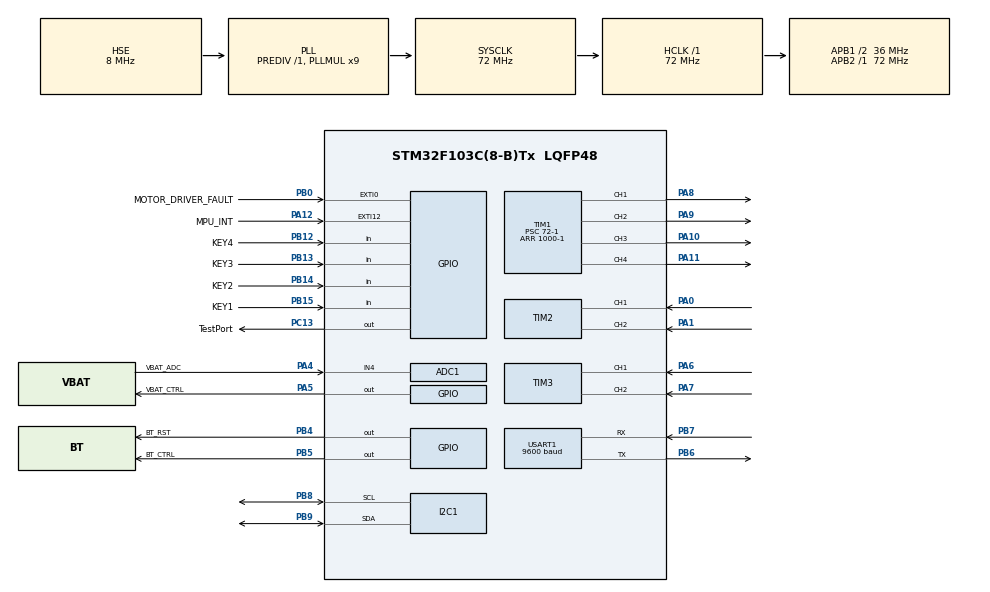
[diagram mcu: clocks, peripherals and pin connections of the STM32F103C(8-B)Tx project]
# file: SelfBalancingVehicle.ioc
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ADC1.Channel-0\#ChannelRegularConversion=ADC_CHANNEL_4
ADC1.ContinuousConvMode=ENABLE
ADC1.NbrOfConversion=1
ADC1.NbrOfConversionFlag=1
ADC1.Rank-0\#ChannelRegularConversion=1
ADC1.SamplingTime-0\#ChannelRegularConversion=ADC_SAMPLETIME_239CYCLES_5
ADC1.master=1
Dma.ADC1.2.Direction=DMA_PERIPH_TO_MEMORY
Dma.ADC1.2.Instance=DMA1_Channel1
Dma.ADC1.2.MemDataAlignment=DMA_MDATAALIGN_HALFWORD
Dma.ADC1.2.MemInc=DMA_MINC_ENABLE
Dma.ADC1.2.Mode=DMA_NORMAL
Dma.ADC1.2.PeriphDataAlignment=DMA_PDATAALIGN_HALFWORD
Dma.ADC1.2.PeriphInc=DMA_PINC_DISABLE
Dma.ADC1.2.Priority=DMA_PRIORITY_LOW
Dma.Request0=USART1_RX
Dma.Request1=USART1_TX
Dma.Request2=ADC1
Dma.USART1_RX.0.Direction=DMA_PERIPH_TO_MEMORY
Dma.USART1_RX.0.Instance=DMA1_Channel5
Dma.USART1_RX.0.MemDataAlignment=DMA_MDATAALIGN_BYTE
Dma.USART1_RX.0.MemInc=DMA_MINC_ENABLE
Dma.USART1_RX.0.Mode=DMA_CIRCULAR
Dma.USART1_RX.0.PeriphDataAlignment=DMA_PDATAALIGN_BYTE
Dma.USART1_RX.0.PeriphInc=DMA_PINC_DISABLE
Dma.USART1_RX.0.Priority=DMA_PRIORITY_LOW
Dma.USART1_TX.1.Direction=DMA_MEMORY_TO_PERIPH
Dma.USART1_TX.1.Instance=DMA1_Channel4
Dma.USART1_TX.1.MemDataAlignment=DMA_MDATAALIGN_BYTE
Dma.USART1_TX.1.MemInc=DMA_MINC_ENABLE
Dma.USART1_TX.1.Mode=DMA_NORMAL
Dma.USART1_TX.1.PeriphDataAlignment=DMA_PDATAALIGN_BYTE
Dma.USART1_TX.1.PeriphInc=DMA_PINC_DISABLE
Dma.USART1_TX.1.Priority=DMA_PRIORITY_LOW
I2C1.I2C_Mode=I2C_Fast
Mcu.Family=STM32F1
Mcu.Name=STM32F103C(8-B)Tx
Mcu.Package=LQFP48
NVIC.DMA1_Channel1_IRQn=true\:0\:0\:false\:false\:true\:false\:true\:true
NVIC.DMA1_Channel4_IRQn=true\:0\:0\:false\:false\:true\:false\:true\:true
NVIC.DMA1_Channel5_IRQn=true\:0\:0\:false\:false\:true\:false\:true\:true
NVIC.I2C1_ER_IRQn=true\:0\:0\:false\:false\:true\:true\:true\:true
NVIC.PriorityGroup=NVIC_PRIORITYGROUP_4
NVIC.TIM4_IRQn=true\:0\:0\:false\:false\:true\:true\:true\:true
NVIC.USART1_IRQn=true\:0\:0\:false\:false\:true\:true\:true\:true
PA0-WKUP.GPIO_PuPd=GPIO_PULLUP
PA0-WKUP.Signal=S_TIM2_CH1_ETR
PA1.GPIO_PuPd=GPIO_PULLUP
PA1.Signal=S_TIM2_CH2
PA10.Signal=S_TIM1_CH3
PA11.Signal=S_TIM1_CH4
PA12.GPIO_Label=MPU_INT
PA12.GPIO_ModeDefaultEXTI=GPIO_MODE_IT_FALLING
PA12.Signal=GPXTI12
PA13.Mode=Serial_Wire
PA13.Signal=SYS_JTMS-SWDIO
PA14.Mode=Serial_Wire
PA14.Signal=SYS_JTCK-SWCLK
PA4.GPIO_Label=VBAT_ADC
PA4.Signal=ADCx_IN4
PA5.GPIO_Label=VBAT_CTRL
PA5.GPIO_Speed=GPIO_SPEED_FREQ_MEDIUM
PA5.Signal=GPIO_Output
PA6.GPIO_PuPd=GPIO_PULLUP
PA6.Signal=S_TIM3_CH1
PA7.GPIO_PuPd=GPIO_PULLUP
PA7.Signal=S_TIM3_CH2
PA8.Signal=S_TIM1_CH1
PA9.Signal=S_TIM1_CH2
PB0.GPIO_Label=MOTOR_DRIVER_FAULT
PB0.GPIO_ModeDefaultEXTI=GPIO_MODE_IT_FALLING
PB0.Signal=GPXTI0
PB10.GPIO_Pu=GPIO_PULLUP
PB10.Signal=I2C2_SCL
PB11.GPIO_Pu=GPIO_PULLUP
PB11.Signal=I2C2_SDA
PB12.GPIO_Label=KEY4
PB12.Signal=GPIO_Input
PB13.GPIO_Label=KEY3
PB13.Signal=GPIO_Input
PB14.GPIO_Label=KEY2
PB14.Signal=GPIO_Input
PB15.GPIO_Label=KEY1
PB15.Signal=GPIO_Input
PB4.GPIO_Label=BT_RST
PB4.PinState=GPIO_PIN_SET
PB4.Signal=GPIO_Output
PB5.GPIO_Label=BT_CTRL
PB5.PinState=GPIO_PIN_SET
PB5.Signal=GPIO_Output
PB6.Mode=Asynchronous
PB6.Signal=USART1_TX
PB7.Mode=Asynchronous
PB7.Signal=USART1_RX
PB8.Mode=I2C
PB8.Signal=I2C1_SCL
PB9.Mode=I2C
PB9.Signal=I2C1_SDA
PC13-TAMPER-RTC.GPIO_Label=TestPort
PC13-TAMPER-RTC.Signal=GPIO_Output
PD0-OSC_IN.Mode=HSE-External-Oscillator
PD0-OSC_IN.Signal=RCC_OSC_IN
PD1-OSC_OUT.Mode=HSE-External-Oscillator
PD1-OSC_OUT.Signal=RCC_OSC_OUT
ProjectManager.HeapSize=0x200
ProjectManager.StackSize=0x400
ProjectManager.TargetToolchain=MDK-ARM V5
RCC.ADCPresc=RCC_ADCPCLK2_DIV8
RCC.AHBFreq_Value=72000000
RCC.APB1CLKDivider=RCC_HCLK_DIV2
RCC.APB1Freq_Value=36000000
RCC.APB1TimFreq_Value=72000000
RCC.APB2Freq_Value=72000000
RCC.APB2TimFreq_Value=72000000
RCC.HCLKFreq_Value=72000000
RCC.PLLMUL=RCC_PLL_MUL9
RCC.PLLSourceVirtual=RCC_PLLSOURCE_HSE
RCC.SYSCLKFreq_VALUE=72000000
RCC.SYSCLKSource=RCC_SYSCLKSOURCE_PLLCLK
RCC.USBFreq_Value=72000000
SH.ADCx_IN4.0=ADC1_IN4,IN4
SH.S_TIM1_CH1.0=TIM1_CH1,PWM Generation1 CH1
SH.S_TIM1_CH2.0=TIM1_CH2,PWM Generation2 CH2
SH.S_TIM1_CH3.0=TIM1_CH3,PWM Generation3 CH3
SH.S_TIM1_CH4.0=TIM1_CH4,PWM Generation4 CH4
SH.S_TIM2_CH1_ETR.0=TIM2_CH1,Encoder_Interface
SH.S_TIM2_CH2.0=TIM2_CH2,Encoder_Interface
SH.S_TIM3_CH1.0=TIM3_CH1,Encoder_Interface
SH.S_TIM3_CH2.0=TIM3_CH2,Encoder_Interface
TIM1.AutoReloadPreload=TIM_AUTORELOAD_PRELOAD_ENABLE
TIM1.BreakState=TIM_BREAK_DISABLE
TIM1.Channel-PWM\ Generation1\ CH1=TIM_CHANNEL_1
TIM1.Channel-PWM\ Generation2\ CH2=TIM_CHANNEL_2
TIM1.Channel-PWM\ Generation3\ CH3=TIM_CHANNEL_3
TIM1.Channel-PWM\ Generation4\ CH4=TIM_CHANNEL_4
TIM1.OCIdleState_1=TIM_OCIDLESTATE_RESET
TIM1.Period=1000-1
TIM1.Prescaler=72-1
TIM2.EncoderMode=TIM_ENCODERMODE_TI12
TIM2.IC1Filter=15
TIM2.IC2Filter=15
TIM3.EncoderMode=TIM_ENCODERMODE_TI12
TIM3.IC1Filter=15
TIM3.IC2Filter=15
TIM4.AutoReloadPreload=TIM_AUTORELOAD_PRELOAD_ENABLE
TIM4.Period=1000-1
TIM4.Prescaler=72-1
USART1.BaudRate=9600
USART1.VirtualMode=VM_ASYNC
VP_TIM1_VS_ClockSourceINT.Mode=Internal
VP_TIM4_VS_ClockSourceINT.Mode=Internal
board=custom

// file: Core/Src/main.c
/* USER CODE BEGIN Header */
/**
  ******************************************************************************
  * @file           : main.c
  * @brief          : Main program body
  ******************************************************************************
  * @attention
  *
  * <h2><center>&copy; Copyright (c) 2024 STMicroelectronics.
  * All rights reserved.</center></h2>
  *
  * This software component is licensed by ST under BSD 3-Clause license,
  * the "License"; You may not use this file except in compliance with the
  * License. You may obtain a copy of the License at:
  *                        opensource.org/licenses/BSD-3-Clause
  *
  ******************************************************************************
  */
/* USER CODE END Header */
#include "main.h"
#include "adc.h"
#include "dma.h"
#include "i2c.h"
#include "tim.h"
#include "usart.h"
#include "gpio.h"

/* USER CODE BEGIN Includes */
#include "delay.h"
#include "Motors.h"
#include "oled.h"
#include "mpu6050.h"
#include "inv_mpu.h"
#include "SerialPort.h"
#include "Protocol.h"
#include "BalanceControl.h"
#include "BLE_HC09.h"
#include "Key.h"
#include <stdio.h>
#include "Battery.h"
/* USER CODE END Includes */

void SystemClock_Config(void);

int main(void)
{

  /* USER CODE BEGIN 1 */
//	int16_t ax, ay, az;
//	float pitch, roll, yaw;
//	uint8_t mpuErrorCount = 0;

//	uint8_t rxData[50];
//	uint32_t rxLen;

  /* USER CODE END 1 */

  /* MCU Configuration--------------------------------------------------------*/

  /* Reset of all peripherals, Initializes the Flash interface and the Systick. */
  HAL_Init();

  /* Configure the system clock */
  SystemClock_Config();

  /* Initialize all configured peripherals */
  MX_GPIO_Init();
  MX_DMA_Init();
  MX_TIM2_Init();
  MX_I2C1_Init();
  MX_USART1_UART_Init();
  MX_TIM1_Init();
  MX_TIM3_Init();
  MX_TIM4_Init();
  MX_ADC1_Init();
  /* USER CODE BEGIN 2 */

	// 初始化电机驱动
	InitMotorDriver();
	// 初始化编码器驱动
	InitMotorEncodersDriver();

	// 串口初始化
	SerialPortOpen();

	// 电压监测初始化
//	InitBatteryMonitoring();

//	OLED_Init();			//初始化OLED
//	fill_picture(0xFF);
	HAL_Delay(100);
//	OLED_ShowString(4*16,1,"BY:CJH2",8);
	HAL_Delay(100);

	// 初始化MPU6050
//	OLED_ShowString(0, 0, "MPU is initializing.", 6);
	while( mpu_dmp_init() ){};
//	OLED_Clear();
//	OLED_ShowString(0, 0, "Running.", 6);

	// 初始化所有按钮标志位
	InitAllKeys();

	// 启动定时器中断
	HAL_TIM_Base_Start_IT(&htim4);

  /* USER CODE END 2 */

  /* Infinite loop */
  /* USER CODE BEGIN WHILE */
  while (1)
  {
//		HAL_Delay(500);
		// Test();
		// ProtocolEncode("1234\x7D\x7E", 6);
  	ProtocolDecode(NULL, 0);

		// 按钮状态显示
//		char keyState = Key1.KEY_DOWN ? '1' : '0';
//		OLED_Buffer_ShowChar(0, 3*8, keyState, 6);
//		keyState = Key2.KEY_DOWN ? '1' : '0';
//		OLED_Buffer_ShowChar(1*6, 3*8, keyState, 6);
//		keyState = Key3.KEY_DOWN ? '1' : '0';
//		OLED_Buffer_ShowChar(2*6, 3*8, keyState, 6);
//		keyState = Key4.KEY_DOWN ? '1' : '0';
//		OLED_Buffer_ShowChar(3*6, 3*8, keyState, 6);

		if(Key1.KEY_DOWN)
		{
			HAL_NVIC_SystemReset();
		}
//			// 暂定I2C错误时处理方案为：重新初始化
//			HAL_I2C_DeInit(&hi2c1);
//			HAL_I2C_Init(&hi2c1);

//			HAL_I2C_DeInit(&hi2c2);
//			HAL_I2C_Init(&hi2c2);
//
//			MX_I2C1_Init();
//			MX_I2C2_Init();
//		}

//		if(Key2.KEY_DOWN)
//		{
//			while( mpu_dmp_init() ){};
//		}

		OnMainForBalanceControl();

		// 俯仰角（±90°，平衡角）
//		OLED_Buffer_ShowString(0, 0, OLED_FloatToString(gPitch+0.05f, 1), 6);
//		// 横滚角（±180°）
//		OLED_Buffer_ShowString(0, 1*8, OLED_FloatToString(gRoll+0.05f, 1), 6);
//		// 航向角（0~360°）
//		OLED_Buffer_ShowString(0, 2*8, OLED_FloatToString(gYaw+0.05f, 1), 6);
//
//		// 显示电池电压，显示小数点后两位，所以在第三位四舍五入
//		float batteryVoltage = GetBatteryMillivolt() * 2 / 1000.0f + 0.005f;
//		OLED_Buffer_ShowString(17*6, 0, OLED_FloatToString(batteryVoltage, 2), 6);

//		Test(&gSerialPort2);
		//SerialWrite(&gSerialPort2, (uint8_t*)"USART2", 6);
//  	printf("p:%.1f, r:%.1f, y:%.1f\r\n", pitch, roll, yaw);
//		printf("LME:%d, RME:%d\r\n", GetLeftMotorSpeed(), GetRightMotorSpeed());
//		printf("Battery Voltage: %d mV\r\n", GetBatteryMillivolt());

//		OLED_Buffer_Refresh();
//		OLED_Buffer_Clear();

		// 主循环内容
    /* USER CODE END WHILE */

  }
}

void SystemClock_Config(void)
{
  RCC_OscInitTypeDef RCC_OscInitStruct = {0};
  RCC_ClkInitTypeDef RCC_ClkInitStruct = {0};
  RCC_PeriphCLKInitTypeDef PeriphClkInit = {0};

  /** Initializes the RCC Oscillators according to the specified parameters
  * in the RCC_OscInitTypeDef structure.
  */
  RCC_OscInitStruct.OscillatorType = RCC_OSCILLATORTYPE_HSE;
  RCC_OscInitStruct.HSEState = RCC_HSE_ON;
  RCC_OscInitStruct.HSEPredivValue = RCC_HSE_PREDIV_DIV1;
  RCC_OscInitStruct.HSIState = RCC_HSI_ON;
  RCC_OscInitStruct.PLL.PLLState = RCC_PLL_ON;
  RCC_OscInitStruct.PLL.PLLSource = RCC_PLLSOURCE_HSE;
  RCC_OscInitStruct.PLL.PLLMUL = RCC_PLL_MUL9;
  if (HAL_RCC_OscConfig(&RCC_OscInitStruct) != HAL_OK)
  {
    Error_Handler();
  }

  /** Initializes the CPU, AHB and APB buses clocks
  */
  RCC_ClkInitStruct.ClockType = RCC_CLOCKTYPE_HCLK|RCC_CLOCKTYPE_SYSCLK
                              |RCC_CLOCKTYPE_PCLK1|RCC_CLOCKTYPE_PCLK2;
  RCC_ClkInitStruct.SYSCLKSource = RCC_SYSCLKSOURCE_PLLCLK;
  RCC_ClkInitStruct.AHBCLKDivider = RCC_SYSCLK_DIV1;
  RCC_ClkInitStruct.APB1CLKDivider = RCC_HCLK_DIV2;
  RCC_ClkInitStruct.APB2CLKDivider = RCC_HCLK_DIV1;

  if (HAL_RCC_ClockConfig(&RCC_ClkInitStruct, FLASH_LATENCY_2) != HAL_OK)
  {
    Error_Handler();
  }
  PeriphClkInit.PeriphClockSelection = RCC_PERIPHCLK_ADC;
  PeriphClkInit.AdcClockSelection = RCC_ADCPCLK2_DIV8;
  if (HAL_RCCEx_PeriphCLKConfig(&PeriphClkInit) != HAL_OK)
  {
    Error_Handler();
  }
}

void Error_Handler(void)
{
  __disable_irq();
  while (1)
  {
  }
}
